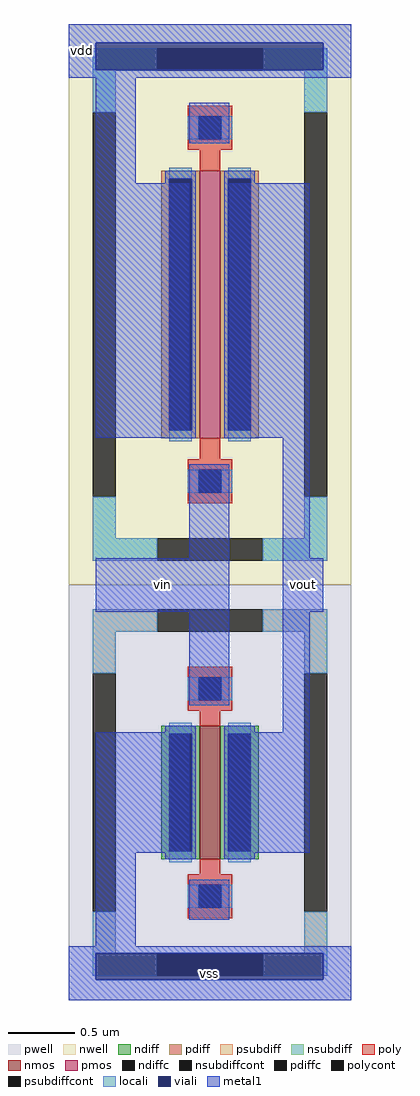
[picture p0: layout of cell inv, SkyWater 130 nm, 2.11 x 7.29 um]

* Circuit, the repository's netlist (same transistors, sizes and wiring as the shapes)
** sch_path: /home/bmott/ttsky25b_tiny_chaos/xsch/ip/logic/inv/inv.sch
.subckt inv vin vout vdd vss
*.ipin vin
*.opin vout
*.ipin vdd
*.ipin vss
XMn vout vin vss vss sky130_fd_pr__nfet_01v8 L=0.15 W=1 nf=1 ad=0.29 as=0.29 pd=2.58 ps=2.58 nrd=0.29 nrs=0.29 sa=0 sb=0 sd=0
+ mult=1 m=1
XMp vout vin vdd vdd sky130_fd_pr__pfet_01v8 L=0.15 W=2 nf=1 ad=0.58 as=0.58 pd=4.58 ps=4.58 nrd=0.145 nrs=0.145 sa=0 sb=0 sd=0
+ mult=1 m=1
**.ends
.end

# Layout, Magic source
magic
tech sky130A
magscale 1 2
<< viali >>
rect 20 1350 360 1390
rect 20 -10 360 30
<< metal1 >>
rect -20 1390 402 1418
rect -20 1350 20 1390
rect 360 1350 402 1390
rect -20 1338 402 1350
rect 20 1180 80 1338
rect 160 1240 220 1300
rect 20 800 160 1180
rect 220 800 340 1180
rect 160 620 220 760
rect 20 540 220 620
rect 160 400 220 540
rect 300 620 340 800
rect 300 540 360 620
rect 300 360 340 540
rect 20 180 160 360
rect 220 180 340 360
rect 20 40 80 180
rect 160 80 220 140
rect -20 30 402 40
rect -20 -10 20 30
rect 360 -10 402 30
rect -20 -40 402 -10
use sky130_fd_pr__nfet_01v8_MH3LLV  XMn
transform 1 0 191 0 1 270
box -211 -310 211 310
use sky130_fd_pr__pfet_01v8_A6MZLZ  XMp
transform 1 0 191 0 1 999
box -211 -419 211 419
<< labels >>
flabel metal1 20 540 220 620 0 FreeSans 640 0 0 0 vin
port 0 nsew
flabel metal1 300 540 360 620 0 FreeSans 480 0 0 0 vout
port 1 nsew
flabel metal1 -20 1340 20 1418 0 FreeSans 800 0 0 0 vdd
port 2 nsew
flabel metal1 -20 -40 400 40 0 FreeSans 800 0 0 0 vss
port 3 nsew
<< end >>

# cell sky130_fd_pr__nfet_01v8_MH3LLV: kit device sky130_fd_pr__nfet_01v8, w 1.0 l 0.15 m 1 nf 1 diffcov 100 polycov 100 guard 1 glc 1 grc 1 gtc 1 gbc 1 tbcov 100 rlcov 100 topc 1 botc 1 poverlap 0 doverlap 1 lmin 0.15 wmin 0.42 class mosfet compatible {sky130_fd_pr__nfet_01v8 sky130_fd_pr__nfet_01v8_lvt sky130_fd_bs_flash__special_sonosfet_star sky130_fd_pr__nfet_g5v0d10v5 sky130_fd_pr__nfet_05v0_nvt sky130_fd_pr__nfet_03v3_nvt} full_metal 1 conn_gates 0 viasrc 100 viadrn 100 viagate 100 viagb 0 viagr 0 viagl 0 viagt 0 doports 1 ad 0.29 as 0.29 pd 2.58 ps 2.58 nrd 0.29 nrs 0.29 sa 0 sb 0 sd 0 mult 1

# cell sky130_fd_pr__pfet_01v8_A6MZLZ: kit device sky130_fd_pr__pfet_01v8, w 2.0 l 0.15 m 1 nf 1 diffcov 100 polycov 100 guard 1 glc 1 grc 1 gtc 1 gbc 1 tbcov 100 rlcov 100 topc 1 botc 1 poverlap 0 doverlap 1 lmin 0.15 wmin 0.42 class mosfet compatible {sky130_fd_pr__pfet_01v8 sky130_fd_pr__pfet_01v8_lvt sky130_fd_pr__pfet_01v8_hvt sky130_fd_pr__pfet_g5v0d10v5} full_metal 1 conn_gates 0 viasrc 100 viadrn 100 viagate 100 viagb 0 viagr 0 viagl 0 viagt 0 doports 1 ad 0.58 as 0.58 pd 4.58 ps 4.58 nrd 0.145 nrs 0.145 sa 0 sb 0 sd 0 mult 1
